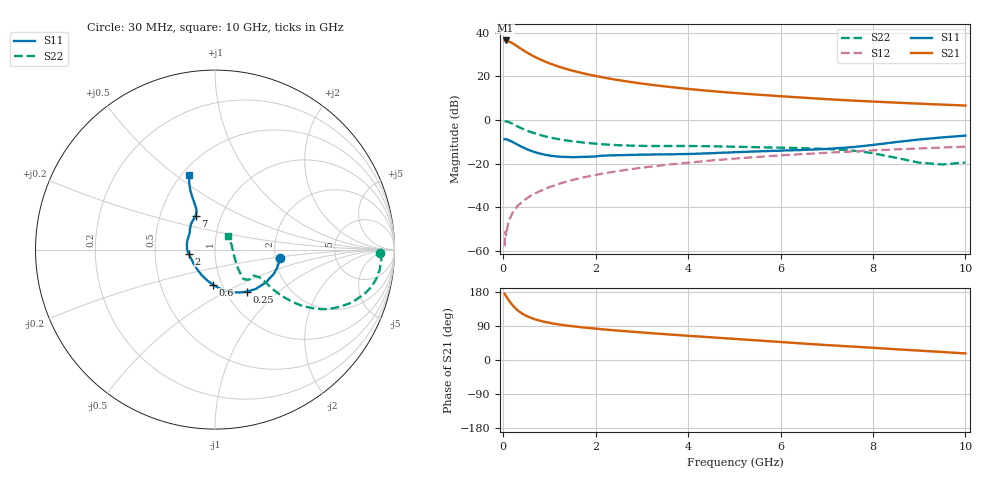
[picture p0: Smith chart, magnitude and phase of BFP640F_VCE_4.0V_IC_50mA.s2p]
! Infineon Technologies  Discrete & RF Semiconductors
! BFP640F
! VCE =  4.0 V,  IC =  50 mA
! Common Emitter S-Parameters:  Apr 2013
# GHz  S  MA  R  50
!  f  S11  S21  S12  S22
! GHz  MAG  ANG  MAG  ANG  MAG  ANG  MAG  ANG
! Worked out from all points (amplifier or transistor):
!   99 points, 30 MHz to 10 GHz, reference 50 ohm
!   highest |S21| = 36.4 dB at 50 MHz (marker M1)
!   |S21| within 3 dB of that: start of sweep to 326.2 MHz
!   unconditionally stable (mu >= 1): 1.386 GHz to end of sweep
!   at 350 MHz: K = 0.66, MSG = 35.8 dB, |S12| = -38.6 dB
!   at 3.5 GHz: K = 1.07, MAG = 16.4 dB, |S12| = -20.6 dB
!   at 10 GHz: K = 1.04, MAG = 8.2 dB, |S12| = -12.2 dB
!   S11 on the Smith chart (normalised r, x): 30 MHz: 2.11, -0.22; 250 MHz: 1.25, -0.64; 600 MHz: 0.91, -0.37; 2 GHz: 0.75, -0.03; 7 GHz: 0.75, +0.30; 10 GHz: 0.55, +0.56
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0.03  0.3628 -7.1  65.4 174.7  0.0013 69.9  0.9205 -1.1
0.05  0.3638 -12.1  65.81 171.0  0.0028 68.0  0.9302 -4.2
0.08  0.3566 -19.0  64.95 165.1  0.0028 69.3  0.9197 -8.2
0.11  0.3467 -26.2  63.24 159.5  0.0046 77.2  0.9022 -12.2
0.15  0.3332 -34.6  60.65 152.7  0.0057 71.5  0.8673 -16.6
0.2  0.3156 -44.1  56.77 144.9  0.0075 72.3  0.8196 -21.0
0.25  0.2943 -52.5  52.65 138.2  0.0085 75.5  0.7702 -24.3
0.3  0.2765 -59.9  48.66 132.4  0.0107 73.0  0.7234 -27.1
0.4  0.2438 -72.6  41.45 123.3  0.0132 73.8  0.6415 -30.7
0.5  0.2172 -83.2  35.57 116.4  0.0158 74.0  0.5788 -32.8
0.6  0.1971 -93.0  30.91 111.1  0.0187 74.6  0.5275 -33.9
0.8  0.1695 -109.5  24.21 103.5  0.0237 75.0  0.4521 -34.7
1  0.1539 -124.1  19.75 98.1  0.0291 75.1  0.4008 -34.5
1.3  0.143 -142.5  15.39 92.2  0.0371 74.2  0.3489 -33.3
1.7  0.1431 -161.3  11.87 86.3  0.0475 73.0  0.3076 -32.1
2  0.146 -171.1  10.14 82.8  0.0555 71.4  0.2874 -32.1
3.4  0.1638 158.1  6.015 69.1  0.0909 64.5  0.2537 -37.3
5.1  0.1841 138.4  4.077 55.0  0.1329 55.4  0.2434 -43.5
6.7  0.2106 123.0  3.134 41.8  0.1706 46.2  0.2222 -45.7
7  0.2178 119.7  2.996 39.4  0.1774 44.6  0.2168 -45.2
8.5  0.312 113.5  2.491 28.4  0.2124 35.9  0.1363 -31.3
10  0.4379 109.1  2.142 17.4  0.2452 27.2  0.1064 46.2
